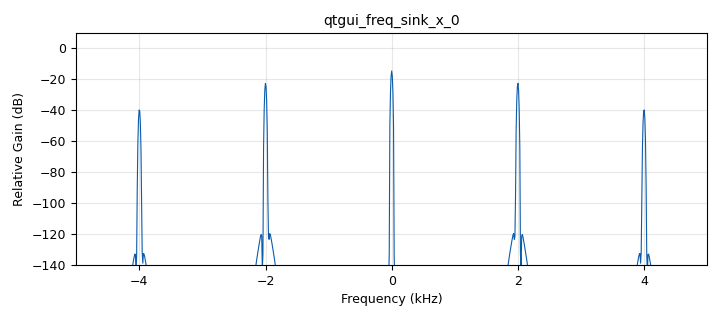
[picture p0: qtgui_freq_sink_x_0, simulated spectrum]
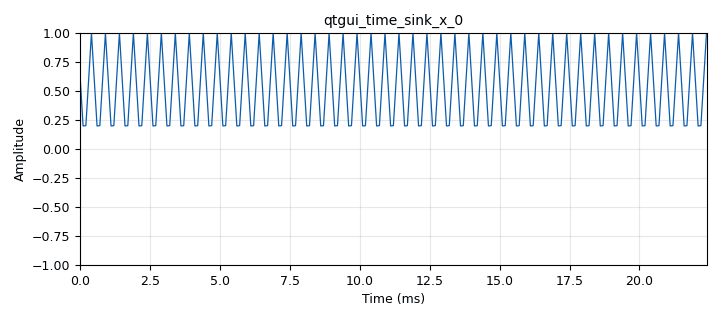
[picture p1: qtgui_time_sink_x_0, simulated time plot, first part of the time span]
options:
  parameters:
    author: Javier_Quiroga_Paula_Rodriguez_B1A_G3
    generate_options: qt_gui
    id: Lab_comu_I
    output_language: python
    title: Teorema_Nyquist
  states: {}

blocks:
- name: freq
  id: variable_qtgui_range
  parameters:
    label: Frequency
    start: '1000'
    step: '1000'
    stop: '40000'
    value: '2000'
  states: {}
- name: samp_rate
  id: variable_qtgui_range
  parameters:
    label: frecuencia de muestreo
    start: '1000'
    step: '1000'
    stop: '80000'
    value: '10000'
  states: {}
- name: analog_sig_source_x_0
  id: analog_sig_source_x
  parameters:
    amp: '1'
    freq: freq
    offset: '0'
    phase: '0'
    samp_rate: samp_rate
    type: float
    waveform: analog.GR_TRI_WAVE
  states: {}
- name: blocks_throttle_0
  id: blocks_throttle
  parameters:
    samples_per_second: samp_rate
    type: float
  states: {}
- name: qtgui_freq_sink_x_0
  id: qtgui_freq_sink_x
  parameters:
    bw: samp_rate
    fc: '0'
    fftsize: '1024'
    type: float
  states: {}
- name: qtgui_time_sink_x_0
  id: qtgui_time_sink_x
  parameters:
    size: '1024'
    srate: samp_rate
    type: float
  states: {}

connections:
- [analog_sig_source_x_0, '0', blocks_throttle_0, '0']
- [blocks_throttle_0, '0', qtgui_freq_sink_x_0, '0']
- [blocks_throttle_0, '0', qtgui_time_sink_x_0, '0']

metadata:
  file_format: 1
  grc_version: 3.9.8.0
